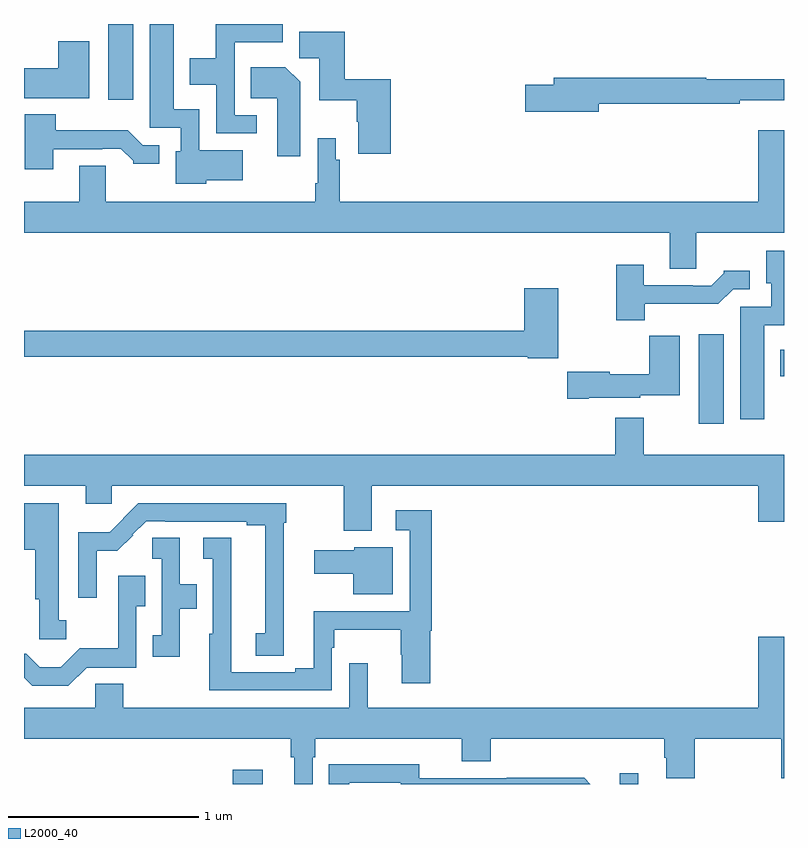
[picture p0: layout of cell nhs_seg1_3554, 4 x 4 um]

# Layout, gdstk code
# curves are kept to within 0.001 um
import gdstk
lib = gdstk.Library(unit=1e-6, precision=1e-09)
def R(c, l, rs):  # rectangles x0, y0, x1, y1
    for r in rs: c.add(gdstk.rectangle(r[:2], r[2:], *l))
def P(c, l, *ps):  # polygons
    for p in ps: c.add(gdstk.Polygon(p, *l))
L2000_40 = (2000, 40)

nhs_seg1_3554 = lib.new_cell('nhs_seg1_3554')
R(nhs_seg1_3554, L2000_40, [(306.098,514.199,306.256,514.273), (308.136,514.199,308.233,514.255), (308.552,516.096,308.683,516.565), (308.981,516.344,309,516.484), (305.444,517.8,305.575,518.199)])
P(nhs_seg1_3554, L2000_40, [(306.226,517.719),(306.108,517.719),(306.108,518.102),(306.361,518.102),(306.361,518.199),(306.01,518.199),(306.01,518.02),(305.873,518.02),(305.873,517.88),(306.012,517.88),(306.012,517.623),(306.226,517.623)],
  [(305.958,517.376),(306.151,517.376),(306.151,517.534),(305.922,517.534),(305.922,517.75),(305.788,517.75),(305.788,518.199),(305.663,518.199),(305.663,517.653),(305.826,517.653),(305.826,517.53),(305.798,517.53),(305.798,517.358),(305.958,517.358)],
  [(306.929,517.909),(306.689,517.909),(306.689,518.158),(306.449,518.158),(306.449,518.02),(306.554,518.02),(306.554,517.799),(306.751,517.799),(306.751,517.684),(306.758,517.684),(306.758,517.515),(306.929,517.515)],
  [(305.344,518.107),(305.18,518.107),(305.18,517.966),(305,517.966),(305,517.808),(305.344,517.808)],
  [(306.454,517.894),(306.376,517.972),(306.193,517.972),(306.193,517.808),(306.332,517.808),(306.332,517.503),(306.454,517.503)],
  [(308.026,517.78),(308.768,517.78),(308.768,517.799),(309,517.799),(309,517.909),(308.591,517.909),(308.591,517.916),(307.787,517.916),(307.787,517.88),(307.638,517.88),(307.638,517.738),(308.026,517.738)],
  [(305.155,517.539),(305.411,517.539),(305.411,517.542),(305.51,517.542),(305.574,517.478),(305.574,517.463),(305.713,517.463),(305.713,517.56),(305.625,517.56),(305.547,517.639),(305.168,517.639),(305.168,517.723),(305.003,517.723),(305.003,517.434),(305.155,517.434)],
  [(308.539,517.1),(309,517.1),(309,517.639),(308.864,517.639),(308.864,517.264),(306.662,517.264),(306.662,517.484),(306.642,517.484),(306.642,517.597),(306.546,517.597),(306.546,517.36),(306.534,517.36),(306.534,517.264),(305.431,517.264),(305.431,517.454),(305.291,517.454),(305.291,517.264),(305,517.264),(305,517.1),(308.399,517.1),(308.399,516.91),(308.539,516.91)],
  [(308.896,516.614),(309,516.614),(309,517.006),(308.906,517.006),(308.906,516.834),(308.934,516.834),(308.934,516.711),(308.771,516.711),(308.771,516.12),(308.896,516.12)],
  [(308.266,516.726),(308.655,516.726),(308.733,516.804),(308.821,516.804),(308.821,516.901),(308.682,516.901),(308.682,516.886),(308.618,516.822),(308.519,516.822),(308.519,516.825),(308.263,516.825),(308.263,516.931),(308.116,516.931),(308.116,516.641),(308.266,516.641)],
  [(307.812,516.808),(307.634,516.808),(307.634,516.584),(305,516.584),(305,516.448),(307.65,516.448),(307.65,516.44),(307.812,516.44)],
  [(307.972,516.233),(308.244,516.233),(308.244,516.245),(308.452,516.245),(308.452,516.559),(308.29,516.559),(308.29,516.355),(308.082,516.355),(308.082,516.368),(307.86,516.368),(307.86,516.226),(307.972,516.226)],
  [(306.829,515.768),(308.864,515.768),(308.864,515.58),(309,515.58),(309,515.932),(308.263,515.932),(308.263,516.127),(308.111,516.127),(308.111,515.932),(305,515.932),(305,515.768),(305.324,515.768),(305.324,515.673),(305.463,515.673),(305.463,515.768),(306.682,515.768),(306.682,515.531),(306.829,515.531)],
  [(305.223,515.061),(305.182,515.061),(305.182,515.677),(305,515.677),(305,515.432),(305.06,515.432),(305.06,515.172),(305.081,515.172),(305.081,514.962),(305.223,514.962)],
  [(306.367,515.573),(306.379,515.573),(306.379,515.676),(305.6,515.676),(305.522,515.599),(305.525,515.597),(305.452,515.524),(305.286,515.524),(305.286,515.178),(305.382,515.178),(305.382,515.426),(305.491,515.426),(305.574,515.508),(305.571,515.511),(305.643,515.583),(305.743,515.583),(305.743,515.58),(306.173,515.58),(306.173,515.56),(306.269,515.56),(306.269,514.992),(306.219,514.992),(306.219,514.873),(306.367,514.873)],
  [(306.621,514.916),(306.634,514.916),(306.634,515.012),(306.982,515.012),(306.982,514.878),(306.989,514.878),(306.989,514.728),(307.139,514.728),(307.139,515.006),(307.145,515.006),(307.145,515.641),(306.957,515.641),(306.957,515.535),(307.029,515.535),(307.029,515.109),(306.524,515.109),(306.524,514.808),(306.428,514.808),(306.428,514.788),(306.09,514.788),(306.09,515.089),(306.092,515.089),(306.092,515.495),(305.943,515.495),(305.943,515.384),(305.994,515.384),(305.994,514.989),(305.975,514.989),(305.975,514.692),(306.621,514.692)],
  [(305.821,515.122),(305.909,515.122),(305.909,515.251),(305.82,515.251),(305.82,515.495),(305.675,515.495),(305.675,515.384),(305.724,515.384),(305.724,514.982),(305.677,514.982),(305.677,514.869),(305.821,514.869)],
  [(306.94,515.446),(306.738,515.446),(306.738,515.428),(306.528,515.428),(306.528,515.306),(306.734,515.306),(306.734,515.198),(306.94,515.198)],
  [(305.331,514.812),(305.592,514.812),(305.592,515.135),(305.639,515.135),(305.639,515.296),(305.496,515.296),(305.496,514.913),(305.294,514.913),(305.194,514.813),(305.084,514.813),(305.013,514.884),(305,514.884),(305,514.759),(305.044,514.715),(305.234,514.715)],
  [(306.519,514.34),(306.533,514.34),(306.533,514.436),(307.304,514.436),(307.304,514.319),(307.457,514.319),(307.457,514.436),(308.369,514.436),(308.369,514.338),(308.381,514.338),(308.381,514.228),(308.529,514.228),(308.529,514.436),(308.986,514.436),(308.986,514.228),(309,514.228),(309,514.975),(308.864,514.975),(308.864,514.6),(306.809,514.6),(306.809,514.834),(306.711,514.834),(306.711,514.6),(305.523,514.6),(305.523,514.727),(305.376,514.727),(305.376,514.6),(305,514.6),(305,514.436),(306.403,514.436),(306.403,514.34),(306.422,514.34),(306.422,514.199),(306.519,514.199)],
  [(306.712,514.206),(306.984,514.206),(306.984,514.199),(307.981,514.199),(307.948,514.232),(307.54,514.232),(307.54,514.23),(307.08,514.23),(307.08,514.303),(306.604,514.302),(306.604,514.199),(306.712,514.199)])

lib.write_gds('nhs_seg1_3554.gds')
